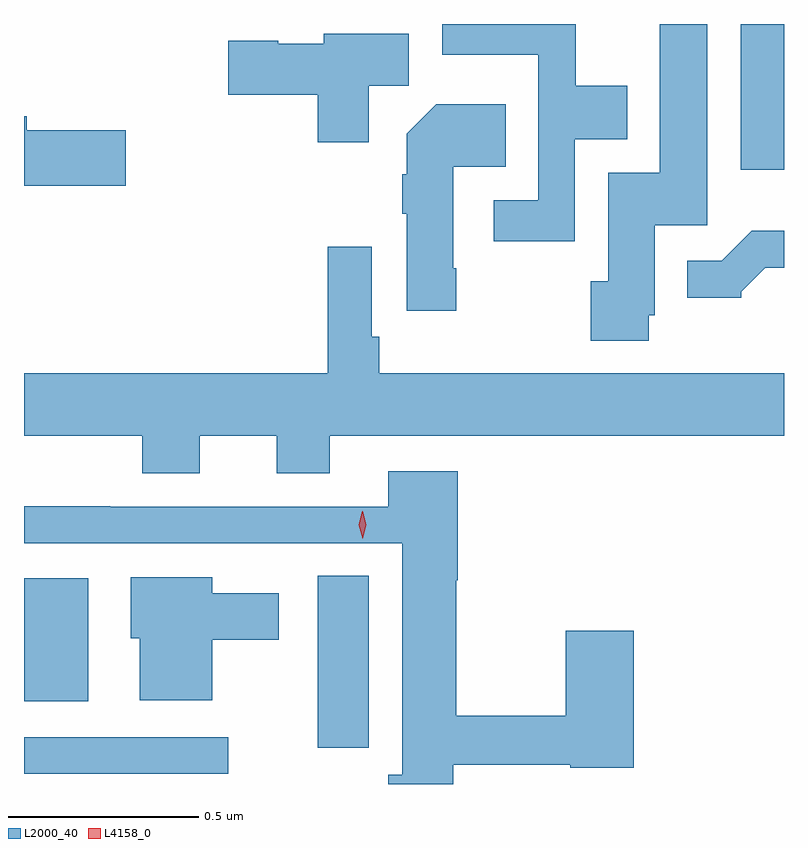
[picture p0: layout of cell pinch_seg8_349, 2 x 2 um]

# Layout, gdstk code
import gdstk
lib = gdstk.Library(unit=1e-6, precision=1e-09)
def R(c, l, rs):  # rectangles x0, y0, x1, y1
    for r in rs: c.add(gdstk.rectangle(r[:2], r[2:], *l))
def P(c, l, *ps):  # polygons
    for p in ps: c.add(gdstk.Polygon(p, *l))
L2000_40 = (2000, 40)
L4158_0 = (4158, 0)

pinch_seg8_349 = lib.new_cell('pinch_seg8_349')
R(pinch_seg8_349, L2000_40, [(459.837,1152.906,460.375,1153.002), (460.61,1152.975,460.744,1153.427), (459.837,1153.097,460.006,1153.42), (461.723,1154.496,461.837,1154.879)])
P(pinch_seg8_349, L2000_40, [(461.286,1154.576),(461.425,1154.576),(461.425,1154.716),(461.289,1154.716),(461.289,1154.879),(460.937,1154.879),(460.937,1154.798),(461.19,1154.798),(461.19,1154.415),(461.073,1154.415),(461.073,1154.307),(461.286,1154.307)],
  [(461.481,1154.112),(461.497,1154.112),(461.497,1154.349),(461.635,1154.349),(461.635,1154.879),(461.51,1154.879),(461.51,1154.488),(461.375,1154.488),(461.375,1154.202),(461.329,1154.202),(461.329,1154.046),(461.481,1154.046)],
  [(460.744,1154.716),(460.849,1154.716),(460.849,1154.854),(460.626,1154.854),(460.626,1154.827),(460.506,1154.827),(460.506,1154.835),(460.374,1154.835),(460.374,1154.693),(460.61,1154.693),(460.61,1154.568),(460.744,1154.568)],
  [(460.974,1154.236),(460.966,1154.236),(460.966,1154.504),(461.105,1154.504),(461.105,1154.668),(460.922,1154.668),(460.844,1154.59),(460.844,1154.483),(460.832,1154.483),(460.832,1154.38),(460.844,1154.38),(460.844,1154.124),(460.974,1154.124)],
  [(460.105,1154.6),(459.844,1154.6),(459.844,1154.636),(459.837,1154.636),(459.837,1154.453),(460.105,1154.453)],
  [(461.724,1154.174),(461.788,1154.238),(461.837,1154.238),(461.837,1154.335),(461.752,1154.335),(461.673,1154.256),(461.582,1154.256),(461.582,1154.159),(461.724,1154.159)],
  [(460.3,1153.796),(460.502,1153.796),(460.502,1153.697),(460.642,1153.697),(460.642,1153.796),(461.837,1153.796),(461.837,1153.96),(460.772,1153.96),(460.772,1154.056),(460.752,1154.056),(460.752,1154.293),(460.636,1154.293),(460.636,1153.96),(459.837,1153.96),(459.837,1153.796),(460.148,1153.796),(460.148,1153.697),(460.3,1153.697)],
  [(460.966,1152.93),(461.274,1152.93),(461.274,1152.922),(461.441,1152.922),(461.441,1153.282),(461.263,1153.282),(461.263,1153.058),(460.974,1153.058),(460.974,1153.415),(460.979,1153.415),(460.979,1153.702),(460.796,1153.702),(460.796,1153.608),(460.064,1153.608),(460.064,1153.61),(459.837,1153.61),(459.837,1153.512),(460.832,1153.512),(460.832,1152.904),(460.796,1152.904),(460.796,1152.879),(460.966,1152.879)],
  [(460.333,1153.259),(460.507,1153.259),(460.507,1153.381),(460.333,1153.381),(460.333,1153.423),(460.118,1153.423),(460.118,1153.263),(460.142,1153.263),(460.142,1153.1),(460.333,1153.1)])
P(pinch_seg8_349, L4158_0, [(460.728,1153.525),(460.718,1153.561),(460.727,1153.597),(460.727,1153.597),(460.728,1153.597),(460.738,1153.561),(460.729,1153.525),(460.729,1153.525)])

lib.write_gds('pinch_seg8_349.gds')
